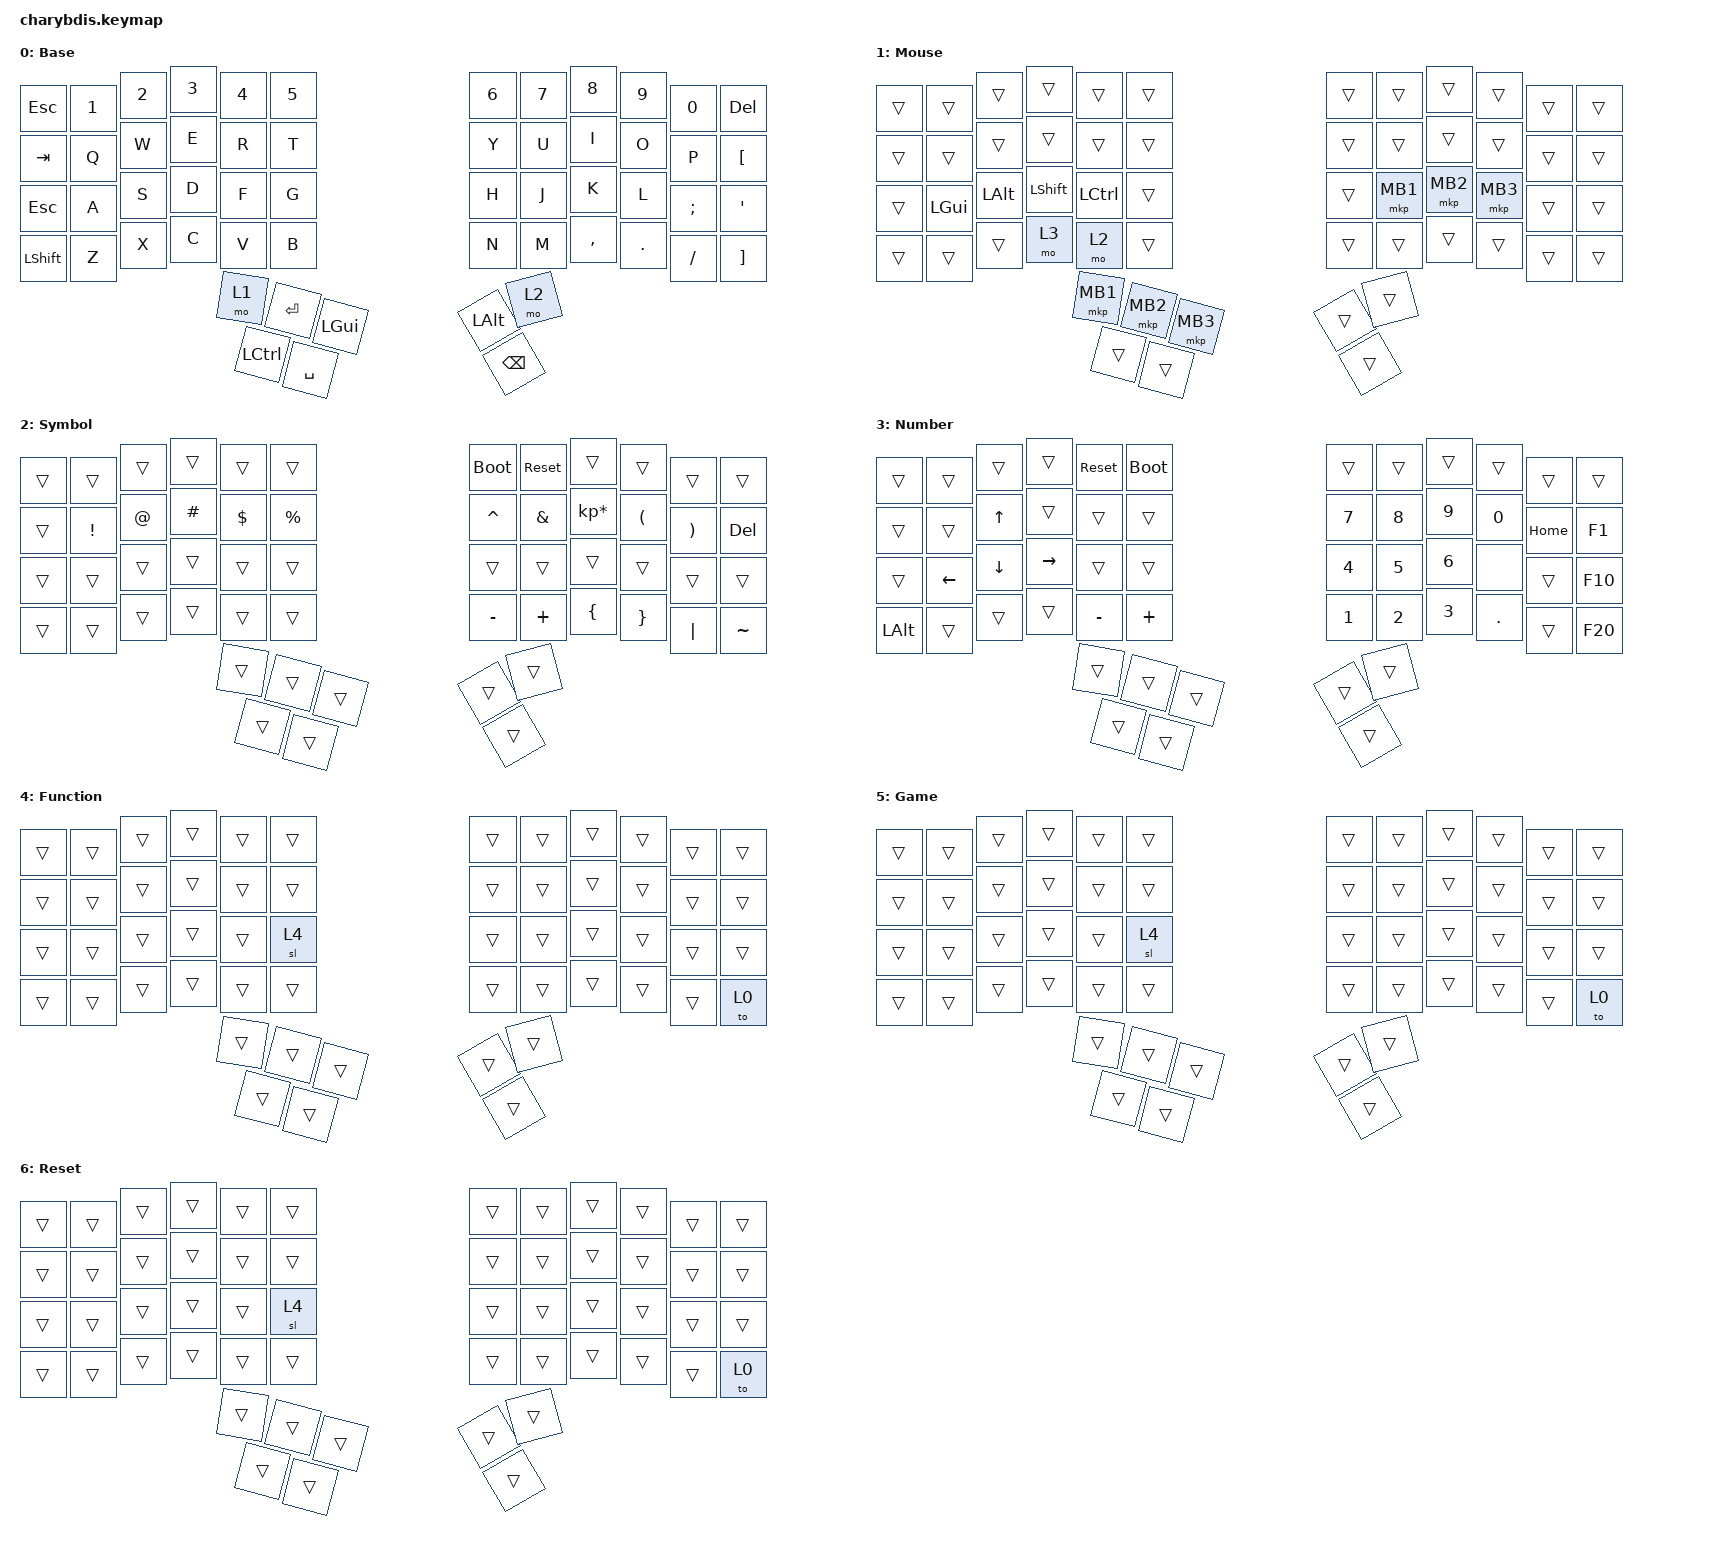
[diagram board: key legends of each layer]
#include <behaviors.dtsi>
#include <dt-bindings/zmk/keys.h>
#include <dt-bindings/zmk/pointing.h>

#define BASE 0
#define MOUSE 1
#define SYMBOL 2
#define NUMBER 3
#define FUNCTION 4
#define GAME 5
#define RESET 6

#define KEYS_L 0 1 2 3 4 10 11 12 13 14 20 21 22 23 24  
#define KEYS_R 5 6 7 8 9 15 16 17 18 19 25 26 27 28 29
#define THUMBS 30 31 32 33 34 35  

&sk {
  release-after-ms = <600>;
  quick-release;
};

&sl {
  ignore-modifiers;
};

&mt {
  flavor = "tap-preferred";
};

&lt {
  flavor = "balanced";
  tapping-term-ms = <200>;
  quick-tap-ms = <175>;
};

&caps_word {
  /delete-property/ ignore-modifiers;
};

/ {
  behaviors {
    hml: hml {
      compatible = "zmk,behavior-hold-tap";
      #binding-cells = <2>;
      flavor = "balanced";
      tapping-term-ms = <2000>;
      quick-tap-ms = <175>;
      require-prior-idle-ms = <250>;
      hold-trigger-key-positions = <KEYS_R THUMBS>;
      hold-trigger-on-release;
      bindings =
        <&kp>,
        <&kp>;
    };

    hmr: hmr {
      compatible = "zmk,behavior-hold-tap";
      #binding-cells = <2>;
      flavor = "balanced";
      tapping-term-ms = <2000>;
      quick-tap-ms = <175>;
      require-prior-idle-ms = <250>;
      hold-trigger-key-positions = <KEYS_L THUMBS>;
      hold-trigger-on-release;
      bindings =
        <&kp>,
        <&kp>;
    };

    hml_s: hml_s {
      compatible = "zmk,behavior-hold-tap";
      #binding-cells = <2>;
      flavor = "balanced";
      tapping-term-ms = <2000>;
      quick-tap-ms = <175>;
      require-prior-idle-ms = <0>;
      hold-trigger-key-positions = <KEYS_R THUMBS>;
      hold-trigger-on-release;
      bindings =
        <&kp>,
        <&kp>;
    };

    hmr_s: hmr_s {
      compatible = "zmk,behavior-hold-tap";
      #binding-cells = <2>;
      flavor = "balanced";
      tapping-term-ms = <2000>;
      quick-tap-ms = <175>;
      require-prior-idle-ms = <0>;
      hold-trigger-key-positions = <KEYS_L THUMBS>;
      hold-trigger-on-release;
      bindings =
        <&kp>,
        <&kp>;
    };

    smart_shift: smart_shift {
      compatible = "zmk,behavior-mod-morph";
      #binding-cells = <0>;
      bindings = <&sk LSHIFT>, <&caps_word>;
      mods = <(MOD_LSFT)>;
    };
/*
      dpi_cycle: sensor_dpi_cycle {
      compatible = "zmk,behavior-sensor-attr-cycle";
      #binding-cells = <1>;
      values = < 100 300 600 900 1200 >;
      attr = <0>;
      sensor_device = <&trackball>;
      display-name = "DPI cycle";
      persistant;
   };*/
 };

  combos {
    compatible = "zmk,combos";
    timeout-ms = <20>;
    require-prior-idle-ms = <250>;

    combo_reset_layer_left {
      key-positions = <20 24>;
      bindings = <&to RESET>;
    };
    combo_reset_layer_right {
      key-positions = <25 29>;
      bindings = <&to RESET>;
    };
    combo_reset_central {
      key-positions = <32 33>;
      bindings = <&bootloader>;
      require-prior-idle-ms = <2000>;
    };
    combo_normal {
      key-positions = <7 8>;
      bindings = <&to BASE>;
    };
    combo_fn {
      key-positions = <27 28>;
      bindings = <&sl FUNCTION>;
    };
    combo_genshin {
      key-positions = <5 9>;
      bindings = <&to GAME>;
    };
    combo_esc {
      key-positions = <1 2>;
      bindings = <&kp ESCAPE>;
    };
    combo_tab {
      key-positions = <2 3>;
      bindings = <&kp TAB>;
    };
    combo_cdel {
      key-positions = <11 12>;
      bindings = <&kp LC(BACKSPACE)>;
    };
    combo_unlock {
      key-positions = <0 4>;
      bindings = <&studio_unlock>;
    };
  };
  chosen {
    zmk,physical-layout = &charybdis_6col_layout;
  };

  keymap {
    compatible = "zmk,keymap";
         // ╭─────────────┬─────────────┬─────────────┬─────────────┬─────────────┬─────────────╮   ╭─────────────┬─────────────┬─────────────┬─────────────┬─────────────┬─────────────╮
         //    0             1             2             3             4             5                 6             7             8             9            10            11
         // ├─────────────┼─────────────┼─────────────┼─────────────┼─────────────┼─────────────┤   ├─────────────┼─────────────┼─────────────┼─────────────┼─────────────┼─────────────┤
         //   12            13            14            15            16            17                18            19            20            21            22            23
         // ├─────────────┼─────────────┼─────────────┼─────────────┼─────────────┼─────────────┤   ├─────────────┼─────────────┼─────────────┼─────────────┼─────────────┼─────────────┤
         //   24            25            26            27            28            29                30            31            32            33            34            35
         // ├─────────────┼─────────────┼─────────────┼─────────────┼─────────────┼─────────────┤   ├─────────────┼─────────────┼─────────────┼─────────────┼─────────────┼─────────────┤
         //   36            37            38            39            40            41                42            43            44            45            46            47
         // ╰─────────────┴─────────────┴─────────────┴─────────────┴─────────────┴─────────────╯   ╰─────────────┴─────────────┴─────────────┴─────────────┴─────────────┴─────────────╯
         //               ╭─────────────┬─────────────┬─────────────┬─────────────┬─────────────╮   ╭─────────────┬─────────────┬─────────────╮
         //                 48            49            50            51            52                53            54            55
         //               ╰─────────────┴─────────────┴─────────────┴─────────────┴─────────────╯   ╰─────────────┴─────────────┴─────────────╯
         //                                                                              Actual Key Positions
         //                                          ╭─────────────┬─────────────┬─────────────╮    ╭─────────────┬─────────────╮
         //                                             50           51            48                 55            54
         //                                          ╰─────────────┼─────────────┼─────────────┤    ├─────────────┼─────────────╯
         //                                                          52            49                 53
         //                                                        ╰─────────────┴─────────────╯    ╰─────────────╯

    Base {
        label = "Base";
        display-name = "Base";
        bindings = <
         // ╭─────────────┬─────────────┬─────────────┬─────────────┬─────────────┬─────────────╮   ╭─────────────┬─────────────┬─────────────┬─────────────┬─────────────┬─────────────╮
                &kp ESC        &kp N1        &kp N2       &kp N3        &kp N4        &kp N5            &kp N6        &kp N7        &kp N8        &kp N9        &kp N0       &kp DEL
         // ├─────────────┼─────────────┼─────────────┼─────────────┼─────────────┼─────────────┤   ├─────────────┼─────────────┼─────────────┼─────────────┼─────────────┼─────────────┤
                &kp TAB        &kp Q         &kp W         &kp E         &kp R         &kp T             &kp Y         &kp U         &kp I         &kp O         &kp P   &kp LEFT_BRACKET
         // ├─────────────┼─────────────┼─────────────┼─────────────┼─────────────┼─────────────┤   ├─────────────┼─────────────┼─────────────┼─────────────┼─────────────┼─────────────┤
                &kp ESC        &kp A         &kp S         &kp D         &kp F         &kp G             &kp H         &kp J         &kp K         &kp L       &kp SEMI      &kp APOS
         // ├─────────────┼─────────────┼─────────────┼─────────────┼─────────────┼─────────────┤   ├─────────────┼─────────────┼─────────────┼─────────────┼─────────────┼─────────────┤
               &kp LSHFT       &kp Z         &kp X         &kp C         &kp V         &kp B             &kp N         &kp M       &kp COMMA      &kp DOT      &kp FSLH &kp RIGHT_BRACKET
         // ╰─────────────┴─────────────┴─────────────┴─────────────┴─────────────┴─────────────╯   ╰─────────────┴─────────────┴─────────────┴─────────────┴─────────────┴─────────────╯
         //               ╭─────────────┬─────────────┬─────────────┬─────────────┬─────────────╮   ╭─────────────┬─────────────┬─────────────╮
                               &mo 1        &kp RET    &kp LEFT_GUI    &kp LCTRL     &kp SPACE        &kp LEFT_ALT     &mo 2       &kp BSPC
         //               ╰─────────────┴─────────────┴─────────────┴─────────────┴─────────────╯   ╰─────────────┴─────────────┴─────────────╯
         //                                                                              Actual Key Positions
         //                                          ╭─────────────┬─────────────┬─────────────╮    ╭─────────────┬─────────────╮
         //                                           &kp LEFT_GUI    &kp LCTRL       &mo 1             &kp BSPC       &mo 2
         //                                          ╰─────────────┼─────────────┼─────────────┤    ├─────────────┼─────────────╯
         //                                                           &kp SPACE      &kp RET         &kp LEFT_ALT
         //                                                        ╰─────────────┴─────────────╯    ╰─────────────╯
        >;
    };

    Mouse {
        label = "Mouse";
        display-name = "Mouse";
        bindings = <
         // ╭─────────────┬─────────────┬─────────────┬─────────────┬─────────────┬─────────────╮   ╭─────────────┬─────────────┬─────────────┬─────────────┬─────────────┬─────────────╮
                &trans        &trans        &trans        &trans        &trans        &trans            &trans        &trans        &trans        &trans        &trans        &trans
         // ├─────────────┼─────────────┼─────────────┼─────────────┼─────────────┼─────────────┤   ├─────────────┼─────────────┼─────────────┼─────────────┼─────────────┼─────────────┤
                &trans        &trans        &trans        &trans        &trans        &trans            &trans        &trans        &trans        &trans        &trans        &trans
         // ├─────────────┼─────────────┼─────────────┼─────────────┼─────────────┼─────────────┤   ├─────────────┼─────────────┼─────────────┼─────────────┼─────────────┼─────────────┤
                &trans       &kp LGUI      &kp LALT      &kp LSHFT     &kp LCTRL      &trans            &trans       &mkp MB1      &mkp MB2      &mkp MB3       &trans        &trans
         // ├─────────────┼─────────────┼─────────────┼─────────────┼─────────────┼─────────────┤   ├─────────────┼─────────────┼─────────────┼─────────────┼─────────────┼─────────────┤
                &trans        &trans        &trans         &mo 3         &mo 2        &trans            &trans        &trans        &trans        &trans        &trans        &trans
         // ╰─────────────┴─────────────┴─────────────┴─────────────┴─────────────┴─────────────╯   ╰─────────────┴─────────────┴─────────────┴─────────────┴─────────────┴─────────────╯
         //               ╭─────────────┬─────────────┬─────────────┬─────────────┬─────────────╮   ╭─────────────┬─────────────┬─────────────╮
                              &mkp MB1    &mkp MB2       &mkp MB3       &trans        &trans            &trans        &trans        &trans
         //               ╰─────────────┴─────────────┴─────────────┴─────────────┴─────────────╯   ╰─────────────┴─────────────┴─────────────╯
         //                                                                              Actual Key Positions
         //                                          ╭─────────────┬─────────────┬─────────────╮    ╭─────────────┬─────────────╮
         //                                              &mkp MB3       &trans       &mkp MB1           &trans        &trans
         //                                          ╰─────────────┼─────────────┼─────────────┤    ├─────────────┼─────────────╯
         //                                                             &trans       &mkp MB2           &trans
         //                                                        ╰─────────────┴─────────────╯    ╰─────────────╯
        >;
    };

    Sym {
        label = "Symbol";
        display-name = "Symbol";
        bindings = <
         // ╭─────────────┬─────────────┬─────────────┬─────────────┬─────────────┬─────────────╮   ╭─────────────┬─────────────┬─────────────┬─────────────┬─────────────┬─────────────╮
                 &trans       &trans         &trans       &trans         &trans       &trans          &bootloader    &sys_reset     &trans        &trans        &trans        &trans
         // ├─────────────┼─────────────┼─────────────┼─────────────┼─────────────┼─────────────┤   ├─────────────┼─────────────┼─────────────┼─────────────┼─────────────┼─────────────┤
                 &trans      &kp EXCL        &kp AT      &kp HASH       &kp DLLR     &kp PRCNT         &kp CARET      &kp AMPS  &kp KP_MULTIPLY  &kp LPAR      &kp RPAR      &kp DEL
         // ├─────────────┼─────────────┼─────────────┼─────────────┼─────────────┼─────────────┤   ├─────────────┼─────────────┼─────────────┼─────────────┼─────────────┼─────────────┤
                 &trans       &trans         &trans       &trans         &trans       &trans            &trans        &trans         &trans       &trans        &trans        &trans
         // ├─────────────┼─────────────┼─────────────┼─────────────┼─────────────┼─────────────┤   ├─────────────┼─────────────┼─────────────┼─────────────┼─────────────┼─────────────┤
                 &trans       &trans         &trans       &trans         &trans       &trans           &kp MINUS      &kp PLUS     &kp LBRC      &kp RBRC      &kp PIPE      &kp TILDE 
         // ╰─────────────┴─────────────┴─────────────┴─────────────┴─────────────┴─────────────╯   ╰─────────────┴─────────────┴─────────────┴─────────────┴─────────────┴─────────────╯
         //               ╭─────────────┬─────────────┬─────────────┬─────────────┬─────────────╮   ╭─────────────┬─────────────┬─────────────╮
                              &trans         &trans       &trans         &trans       &trans            &trans        &trans        &trans
         //               ╰─────────────┴─────────────┴─────────────┴─────────────┴─────────────╯   ╰─────────────┴─────────────┴─────────────╯
         //                                                                              Actual Key Positions
         //                                          ╭─────────────┬─────────────┬─────────────╮    ╭─────────────┬─────────────╮
         //                                               &trans         &trans       &trans            &trans        &trans
         //                                          ╰─────────────┼─────────────┼─────────────┤    ├─────────────┼─────────────╯
         //                                                              &trans       &trans            &trans
         //                                                        ╰─────────────┴─────────────╯    ╰─────────────╯
        >;
    };

    Num {
        label = "Number";
        display-name = "Number";
        bindings = <
         // ╭─────────────┬─────────────┬─────────────┬─────────────┬─────────────┬─────────────╮   ╭─────────────┬─────────────┬─────────────┬─────────────┬─────────────┬─────────────╮
                &trans         &trans       &trans         &trans      &sys_reset   &bootloader         &trans       &trans         &trans        &trans        &trans        &trans
         // ├─────────────┼─────────────┼─────────────┼─────────────┼─────────────┼─────────────┤   ├─────────────┼─────────────┼─────────────┼─────────────┼─────────────┼─────────────┤
                &trans         &trans       &kp UP         &trans       &trans         &trans           &kp N7       &kp N8         &kp N9        &kp N0        &kp HOME      &kp F1
         // ├─────────────┼─────────────┼─────────────┼─────────────┼─────────────┼─────────────┤   ├─────────────┼─────────────┼─────────────┼─────────────┼─────────────┼─────────────┤
                &trans        &kp LEFT     &kp DOWN      &kp RIGHT      &trans         &trans           &kp N4       &kp N5         &kp N6         &none        &trans        &kp F10
         // ├─────────────┼─────────────┼─────────────┼─────────────┼─────────────┼─────────────┤   ├─────────────┼─────────────┼─────────────┼─────────────┼─────────────┼─────────────┤
             &kp LEFT_ALT      &trans       &trans        &trans      &kp MINUS      &kp PLUS           &kp N1       &kp N2         &kp N3        &kp DOT       &trans        &kp F20 
         // ╰─────────────┴─────────────┴─────────────┴─────────────┴─────────────┴─────────────╯   ╰─────────────┴─────────────┴─────────────┴─────────────┴─────────────┴─────────────╯
         //               ╭─────────────┬─────────────┬─────────────┬─────────────┬─────────────╮   ╭─────────────┬─────────────┬─────────────╮
                               &trans       &trans        &trans        &trans         &trans           &trans        &trans        &trans
         //               ╰─────────────┴─────────────┴─────────────┴─────────────┴─────────────╯   ╰─────────────┴─────────────┴─────────────╯
         //                                                                              Actual Key Positions
         //                                          ╭─────────────┬─────────────┬─────────────╮    ╭─────────────┬─────────────╮
         //                                               &trans       &trans        &trans             &trans         &trans
         //                                          ╰─────────────┼─────────────┼─────────────┤    ├─────────────┼─────────────╯
         //                                                            &trans        &trans             &trans 
         //                                                        ╰─────────────┴─────────────╯    ╰─────────────╯ 
        >; 
    }; 
    
    Fun {
        label = "Function";
        display-name = "Function";
        bindings = <
         // ╭─────────────┬─────────────┬─────────────┬─────────────┬─────────────┬─────────────╮   ╭─────────────┬─────────────┬─────────────┬─────────────┬─────────────┬─────────────╮
                &trans        &trans         &trans       &trans         &trans       &trans           &trans         &trans         &trans        &trans        &trans        &trans
         // ├─────────────┼─────────────┼─────────────┼─────────────┼─────────────┼─────────────┤   ├─────────────┼─────────────┼─────────────┼─────────────┼─────────────┼─────────────┤
                &trans        &trans         &trans       &trans         &trans       &trans           &trans         &trans         &trans        &trans        &trans        &trans
         // ├─────────────┼─────────────┼─────────────┼─────────────┼─────────────┼─────────────┤   ├─────────────┼─────────────┼─────────────┼─────────────┼─────────────┼─────────────┤
                &trans        &trans         &trans       &trans         &trans       &sl 4            &trans         &trans         &trans        &trans        &trans        &trans
         // ├─────────────┼─────────────┼─────────────┼─────────────┼─────────────┼─────────────┤   ├─────────────┼─────────────┼─────────────┼─────────────┼─────────────┼─────────────┤
                &trans        &trans         &trans       &trans         &trans       &trans           &trans         &trans         &trans        &trans        &trans         &to 0
         // ╰─────────────┴─────────────┴─────────────┴─────────────┴─────────────┴─────────────╯   ╰─────────────┴─────────────┴─────────────┴─────────────┴─────────────┴─────────────╯
         //               ╭─────────────┬─────────────┬─────────────┬─────────────┬─────────────╮   ╭─────────────┬─────────────┬─────────────╮
                              &trans         &trans       &trans        &trans        &trans           &trans         &trans         &trans
         //               ╰─────────────┴─────────────┴─────────────┴─────────────┴─────────────╯   ╰─────────────┴─────────────┴─────────────╯
         //                                                                              Actual Key Positions
         //                                          ╭─────────────┬─────────────┬─────────────╮    ╭─────────────┬─────────────╮
         //                                               &trans        &trans        &trans           &trans         &trans
         //                                          ╰─────────────┼─────────────┼─────────────┤    ├─────────────┼─────────────╯
         //                                                             &trans        &trans           &trans
         //                                                        ╰─────────────┴─────────────╯    ╰─────────────╯
        >;
    };

    Button {
        label = "Game";
        display-name = "Game";
        bindings = <
         // ╭─────────────┬─────────────┬─────────────┬─────────────┬─────────────┬─────────────╮   ╭─────────────┬─────────────┬─────────────┬─────────────┬─────────────┬─────────────╮
                &trans        &trans         &trans       &trans         &trans       &trans           &trans         &trans         &trans        &trans        &trans        &trans
         // ├─────────────┼─────────────┼─────────────┼─────────────┼─────────────┼─────────────┤   ├─────────────┼─────────────┼─────────────┼─────────────┼─────────────┼─────────────┤
                &trans        &trans         &trans       &trans         &trans       &trans           &trans         &trans         &trans        &trans        &trans        &trans
         // ├─────────────┼─────────────┼─────────────┼─────────────┼─────────────┼─────────────┤   ├─────────────┼─────────────┼─────────────┼─────────────┼─────────────┼─────────────┤
                &trans        &trans         &trans       &trans         &trans       &sl 4            &trans         &trans         &trans        &trans        &trans        &trans
         // ├─────────────┼─────────────┼─────────────┼─────────────┼─────────────┼─────────────┤   ├─────────────┼─────────────┼─────────────┼─────────────┼─────────────┼─────────────┤
                &trans        &trans         &trans       &trans         &trans       &trans           &trans         &trans         &trans        &trans        &trans         &to 0
         // ╰─────────────┴─────────────┴─────────────┴─────────────┴─────────────┴─────────────╯   ╰─────────────┴─────────────┴─────────────┴─────────────┴─────────────┴─────────────╯
         //               ╭─────────────┬─────────────┬─────────────┬─────────────┬─────────────╮   ╭─────────────┬─────────────┬─────────────╮
                              &trans         &trans       &trans        &trans        &trans           &trans         &trans         &trans
         //               ╰─────────────┴─────────────┴─────────────┴─────────────┴─────────────╯   ╰─────────────┴─────────────┴─────────────╯
         //                                                                              Actual Key Positions
         //                                          ╭─────────────┬─────────────┬─────────────╮    ╭─────────────┬─────────────╮
         //                                               &trans        &trans        &trans           &trans         &trans
         //                                          ╰─────────────┼─────────────┼─────────────┤    ├─────────────┼─────────────╯
         //                                                             &trans        &trans           &trans
         //                                                        ╰─────────────┴─────────────╯    ╰─────────────╯
        >;
    };

    Reset {
        label = "Reset";
        display-name = "Reset";
        bindings = <
         // ╭─────────────┬─────────────┬─────────────┬─────────────┬─────────────┬─────────────╮   ╭─────────────┬─────────────┬─────────────┬─────────────┬─────────────┬─────────────╮
                &trans        &trans         &trans       &trans         &trans       &trans           &trans         &trans         &trans        &trans        &trans        &trans
         // ├─────────────┼─────────────┼─────────────┼─────────────┼─────────────┼─────────────┤   ├─────────────┼─────────────┼─────────────┼─────────────┼─────────────┼─────────────┤
                &trans        &trans         &trans       &trans         &trans       &trans           &trans         &trans         &trans        &trans        &trans        &trans
         // ├─────────────┼─────────────┼─────────────┼─────────────┼─────────────┼─────────────┤   ├─────────────┼─────────────┼─────────────┼─────────────┼─────────────┼─────────────┤
                &trans        &trans         &trans       &trans         &trans       &sl 4            &trans         &trans         &trans        &trans        &trans        &trans
         // ├─────────────┼─────────────┼─────────────┼─────────────┼─────────────┼─────────────┤   ├─────────────┼─────────────┼─────────────┼─────────────┼─────────────┼─────────────┤
                &trans        &trans         &trans       &trans         &trans       &trans           &trans         &trans         &trans        &trans        &trans         &to 0
         // ╰─────────────┴─────────────┴─────────────┴─────────────┴─────────────┴─────────────╯   ╰─────────────┴─────────────┴─────────────┴─────────────┴─────────────┴─────────────╯
         //               ╭─────────────┬─────────────┬─────────────┬─────────────┬─────────────╮   ╭─────────────┬─────────────┬─────────────╮
                              &trans         &trans       &trans        &trans        &trans           &trans         &trans         &trans 
         //               ╰─────────────┴─────────────┴─────────────┴─────────────┴─────────────╯   ╰─────────────┴─────────────┴─────────────╯
         //                                                                              Actual Key Positions
         //                                          ╭─────────────┬─────────────┬─────────────╮    ╭─────────────┬─────────────╮
         //                                               &trans        &trans        &trans           &trans         &trans
         //                                          ╰─────────────┼─────────────┼─────────────┤    ├─────────────┼─────────────╯
         //                                                             &trans        &trans           &trans
         //                                                        ╰─────────────┴─────────────╯    ╰─────────────╯
        >;
    };
  };
};
